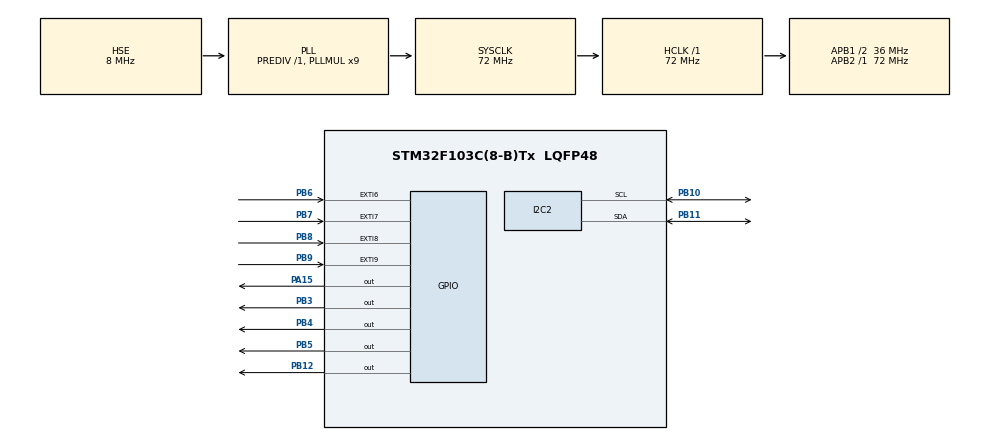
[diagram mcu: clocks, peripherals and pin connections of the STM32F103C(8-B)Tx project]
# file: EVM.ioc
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Mcu.Family=STM32F1
Mcu.Name=STM32F103C(8-B)Tx
Mcu.Package=LQFP48
NVIC.EXTI9_5_IRQn=true\:0\:0\:false\:false\:true\:true\:true\:true
NVIC.PriorityGroup=NVIC_PRIORITYGROUP_4
PA13.Mode=Serial_Wire
PA13.Signal=SYS_JTMS-SWDIO
PA14.Mode=Serial_Wire
PA14.Signal=SYS_JTCK-SWCLK
PA15.Signal=GPIO_Output
PB10.Mode=I2C
PB10.Signal=I2C2_SCL
PB11.Mode=I2C
PB11.Signal=I2C2_SDA
PB12.Signal=GPIO_Output
PB3.Signal=GPIO_Output
PB4.Signal=GPIO_Output
PB5.Signal=GPIO_Output
PB6.Signal=GPXTI6
PB7.Signal=GPXTI7
PB8.Signal=GPXTI8
PB9.Signal=GPXTI9
PD0-OSC_IN.Mode=HSE-External-Oscillator
PD0-OSC_IN.Signal=RCC_OSC_IN
PD1-OSC_OUT.Mode=HSE-External-Oscillator
PD1-OSC_OUT.Signal=RCC_OSC_OUT
ProjectManager.HeapSize=0x200
ProjectManager.StackSize=0x400
ProjectManager.TargetToolchain=STM32CubeIDE
RCC.AHBFreq_Value=72000000
RCC.APB1CLKDivider=RCC_HCLK_DIV2
RCC.APB1Freq_Value=36000000
RCC.APB1TimFreq_Value=72000000
RCC.APB2Freq_Value=72000000
RCC.APB2TimFreq_Value=72000000
RCC.HCLKFreq_Value=72000000
RCC.PLLMUL=RCC_PLL_MUL9
RCC.PLLSourceVirtual=RCC_PLLSOURCE_HSE
RCC.SYSCLKFreq_VALUE=72000000
RCC.SYSCLKSource=RCC_SYSCLKSOURCE_PLLCLK
RCC.USBFreq_Value=72000000
TIM1.Prescaler=71
VP_TIM1_VS_ClockSourceINT.Mode=Internal
board=custom

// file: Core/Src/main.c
/* USER CODE BEGIN Header */
/**
 ******************************************************************************
 * @file           : main.c
 * @brief          : Main program body
 ******************************************************************************
 * @attention
 *
 * Copyright (c) 2024 STMicroelectronics.
 * All rights reserved.
 *
 * This software is licensed under terms that can be found in the LICENSE file
 * in the root directory of this software component.
 * If no LICENSE file comes with this software, it is provided AS-IS.
 *
 ******************************************************************************
 */
/* USER CODE END Header */
#include "main.h"
#include <assert.h>
#include <math.h>
#include <stdlib.h>
#include <string.h>

/* USER CODE BEGIN Includes */
#include "liquidcrystal_i2c.h"
/* USER CODE END Includes */

I2C_HandleTypeDef hi2c2;

TIM_HandleTypeDef htim1;

/* USER CODE BEGIN PV */

GPIO_InitTypeDef GPIO_InitStructPrivate = { 0 };
uint32_t previousMillis = 0;
uint32_t currentMillis = 0;
uint8_t keyPressed = 0;

int32_t last_when_pressed = 0;

/* USER CODE END PV */

void SystemClock_Config(void);
static void MX_GPIO_Init(void);
static void MX_I2C2_Init(void);
static void MX_TIM1_Init(void);

/* USER CODE BEGIN 0 */

void clear_console() {
	HD44780_Clear();
}

void show_text(int x, int y, const char *text, int clear) {
	if (clear) {
		clear_console();
	}

	HD44780_SetCursor(x, y);
	HD44780_PrintStr(text);
}

void show_int(int x, int y, int64_t text, int clear) {
	if (clear) {
		HD44780_Clear();
	}
	char str[20];
	itoa(text, str, 0);
	HD44780_SetCursor(x, y);
	HD44780_PrintStr(str);
}

#define DHT11_PORT GPIOB
#define DHT11_PIN GPIO_PIN_12
uint8_t RHI, RHD, TCI, TCD, SUM;
uint32_t pMillis, cMillis;
float tCelsius = 0;
float tFahrenheit = 0;
float RH = 0;

#define HOME_STATE 0
#define MENU_STATE 1
#define VOTE_STATE 2
#define STAT_STATE 3
#define COUNT_STATE 4
#define SUCCESS_STATE 5
#define ADMIN_LOGIN_STATE 6
#define PUBLISH_STATE 7
#define PROLOGUE_STATE 8
#define TEMPERATURE_STATE 9
#define CONFIRMATION_STATE 10

int admin_authorized = 0;

int transition_stack[100] = { 0 };
int stack_ptr = 1;

int stack_size() {
	return stack_ptr;
}
int stack_top() {
	assert(stack_size() > 0);
	return transition_stack[stack_ptr - 1];
}

void stack_push(int value) {
	transition_stack[stack_ptr++] = value;
}

void stack_pop() {
	if (stack_size() <= 1) {
		return;
	}
	--stack_ptr;
}

void stack_reset() {
	stack_ptr = 1;
}

int current_state = PROLOGUE_STATE;
const char *headings[][2] = { { "Welcome voter", "1.Vote #.Exit" }, {
		"Main menu", "1.Stats #.Exit" },
		{ "Select candidate", "1.A 2.B 3.C 4.D" }, { "See stat",
				"1.Vote count #.Exit" }, { "", "" }, { "Vote Success!",
				"Thank you" }, { "Admin Logged In", "1.Menu #.Exit" }, {
				"Voting finished", "Winner: " }, { "Pending", "Admin Login" }, {
				"", "" }, { "", "1. Yes *. Back" } };
const char *headings_admin[][2] = { { "Welcome admin", "1.Menu #.Exit" }, {
		"1.Stats 2.Take", "3.End 4.Temp" }, { "Select candidate",
		"1.A 2.B 3.C 4.D" }, { "See stat", "1.Vote count #.Exit" }, { "", "" },
		{ "Vote Success!", "#.Exit" }, { "Admin Logged In", "1.Menu #.Exit" }, {
				"Voting finished", "Winner: " }, { "Temp: ", "Humidity: " } };

int counts[4];
int selected_candidate = 0;

void cast_vote(int option) {
	++counts[option - 1];
}
char get_winner() {
	int max_val = 0;
	char winner = '?';
	for (int i = 0; i < 4; ++i) {
		if (counts[i] > max_val) {
			max_val = counts[i];
			winner = (char) ('A' + i);
		}
	}
	return winner;
}

void reset_all() {
	admin_authorized = 1;
	current_state = HOME_STATE;
	counts[0] = counts[1] = counts[2] = counts[3] = 1;
	stack_reset();
}

void reverse(char *str, int len) {
	int i = 0, j = len - 1, temp;
	while (i < j) {
		temp = str[i];
		str[i] = str[j];
		str[j] = temp;
		i++;
		j--;
	}
}

int int_to_str(int x, char str[], int d) {
	int i = 0;
	while (x > 0) {
		str[i++] = (x % 10) + '0';
		x = x / 10;
	}
	while (i < d)
		str[i++] = '0';
	reverse(str, i);
	str[i] = '\0';
	return i;
}

void ftoa(float n, char *res, int afterpoint) {
	int ipart = (int) n;
	float fpart = n - (float) ipart;
	int i = int_to_str(ipart, res, 0);
	if (afterpoint != 0) {
		res[i] = '.';
		fpart = fpart * pow(10, afterpoint);
		int_to_str((int) fpart, res + i + 1, afterpoint);
	}
}

void show_heading() {
	if (current_state == CONFIRMATION_STATE) {
		char conf_text[50] = "Vote: ";
		char selected[2] = { (char) (selected_candidate + '0') };
		strcat(conf_text, selected);
		strcat(conf_text, "?");
		show_text(0, 0, conf_text, 0);
		show_text(0, 1, headings[current_state][1], 0);

	} else if (current_state == TEMPERATURE_STATE) {
		char temp_text[50] = "Temp: ";
		char temp[30];
		ftoa(tCelsius, temp, 1);
		strcat(temp_text, temp);
		strcat(temp_text, " C");
		show_text(0, 0, temp_text, 0);

		char hmd_text[50] = "Humidity: ";
		char hmd[30];
		itoa((int) RH, hmd, 10);
		strcat(hmd_text, hmd);
		strcat(hmd_text, " %");
		show_text(0, 1, hmd_text, 0);

	} else if (current_state == PUBLISH_STATE) {
		char winner[2] = { get_winner() };
		char text[20] = "Winner: ";
		strcat(text, winner);
		show_text(0, 1, text, 0);
	} else if (current_state == COUNT_STATE) {
		char a_label[20] = "A: ";
		char a_count[5];
		itoa(counts[0], a_count, 10);
		strcat(a_label, a_count);
		show_text(0, 0, a_label, 0);

		char b_label[20] = "B: ";
		char b_count[5];
		itoa(counts[1], b_count, 10);
		strcat(b_label, b_count);
		show_text(8, 0, b_label, 0);

		char c_label[20] = "C: ";
		char c_count[5];
		itoa(counts[2], c_count, 10);
		strcat(c_label, c_count);
		show_text(0, 1, c_label, 0);

		char d_label[20] = "D: ";
		char d_count[5];
		itoa(counts[3], d_count, 10);
		strcat(d_label, d_count);
		show_text(8, 1, d_label, 0);
	} else {
		if (admin_authorized) {
			show_text(0, 0, headings_admin[current_state][0], 0);
			show_text(0, 1, headings_admin[current_state][1], 0);
		} else {
			show_text(0, 0, headings[current_state][0], 0);
			show_text(0, 1, headings[current_state][1], 0);
		}
	}
}

void go_back() {
	stack_pop();
	current_state = stack_top();
}

char key_presses[1000];
int key_press_count = 0;

int scan_for_admin() {
	char pass[] = "699";
	if (key_press_count < strlen(pass)) {
		return 0;
	}
	if (key_presses[key_press_count - 1] == pass[2]
			&& key_presses[key_press_count - 2] == pass[1]
			&& key_presses[key_press_count - 3] == pass[0]) {
		return 1;
	}
	return 0;
}

void transition(char key_pressed) {
	char pressed[2] = { key_pressed };
	show_text(15, 0, pressed, 0);
	HAL_Delay(100);

	char old_state = current_state;

	if (scan_for_admin()) {
		current_state = HOME_STATE;
		admin_authorized = 1;
		clear_console();
		stack_reset();
		return;
	}

	if (key_pressed == '?') {
		exit(0);
		return;
	}
	if (key_pressed == '*') {
		if (current_state == SUCCESS_STATE || current_state == PROLOGUE_STATE)
			return;
		go_back();
		clear_console();
		return;
	}

	if (key_pressed == '#') {
		if (current_state != PROLOGUE_STATE && current_state != SUCCESS_STATE) {
			current_state = HOME_STATE;
		}
		clear_console();
		stack_reset();
		return;
	}
	if (current_state == HOME_STATE) {
		if (key_pressed == '1') {
			current_state = admin_authorized ? MENU_STATE : VOTE_STATE;
		} else if (key_pressed == '#') {
			current_state = HOME_STATE;
		}
	} else if (current_state == MENU_STATE) {
		if (key_pressed == '1') {
			current_state = STAT_STATE;
		} else if (key_pressed == '#') {
			current_state = HOME_STATE;
		} else if (key_pressed == '2') {
			current_state = HOME_STATE;
			admin_authorized = 0;
		} else if (key_pressed == '3') {
			current_state = PUBLISH_STATE;
		} else if (key_pressed == '4') {
			current_state = TEMPERATURE_STATE;
		}
	} else if (current_state == VOTE_STATE) {
		selected_candidate = key_pressed - '0';
		current_state = CONFIRMATION_STATE;

	} else if (current_state == STAT_STATE) {
		if (key_pressed == '1') {
			current_state = COUNT_STATE;
		} else if (key_pressed == '#') {
			current_state = HOME_STATE;
		}
	} else if (current_state == CONFIRMATION_STATE) {
		if (key_pressed == '1') {
			cast_vote(selected_candidate);
			current_state = SUCCESS_STATE;
		}

	}
	stack_push(current_state);
	if (current_state != old_state) {
		clear_console();
	}
}

void microDelay(uint16_t delay) {
	__HAL_TIM_SET_COUNTER(&htim1, 0);
	while (__HAL_TIM_GET_COUNTER(&htim1) < delay)
		;
}

uint8_t DHT11_Start(void) {
	uint8_t Response = 0;
	GPIO_InitTypeDef GPIO_InitStructPrivate = { 0 };
	GPIO_InitStructPrivate.Pin = DHT11_PIN;
	GPIO_InitStructPrivate.Mode = GPIO_MODE_OUTPUT_PP;
	GPIO_InitStructPrivate.Speed = GPIO_SPEED_FREQ_LOW;
	GPIO_InitStructPrivate.Pull = GPIO_NOPULL;
	HAL_GPIO_Init(DHT11_PORT, &GPIO_InitStructPrivate); // set the pin as output
	HAL_GPIO_WritePin(DHT11_PORT, DHT11_PIN, 0);       // pull the pin low
	HAL_Delay(20);                                     // wait for 20ms
	HAL_GPIO_WritePin(DHT11_PORT, DHT11_PIN, 1);       // pull the pin high
	microDelay(30);                                    // wait for 30us
	GPIO_InitStructPrivate.Mode = GPIO_MODE_INPUT;
	GPIO_InitStructPrivate.Pull = GPIO_PULLUP;
	HAL_GPIO_Init(DHT11_PORT, &GPIO_InitStructPrivate);  // set the pin as input
	microDelay(40);
	if (!(HAL_GPIO_ReadPin(DHT11_PORT, DHT11_PIN))) {
		microDelay(80);
		if ((HAL_GPIO_ReadPin(DHT11_PORT, DHT11_PIN)))
			Response = 1;
	}
	pMillis = HAL_GetTick();
	cMillis = HAL_GetTick();
	while ((HAL_GPIO_ReadPin(DHT11_PORT, DHT11_PIN)) && pMillis + 2 > cMillis) {
		cMillis = HAL_GetTick();
	}
	return Response;
}

uint8_t DHT11_Read(void) {
	uint8_t a, b;
	for (a = 0; a < 8; a++) {
		pMillis = HAL_GetTick();
		cMillis = HAL_GetTick();
		while (!(HAL_GPIO_ReadPin(DHT11_PORT, DHT11_PIN))
				&& pMillis + 2 > cMillis) {       // wait for the pin to go high
			cMillis = HAL_GetTick();
		}
		microDelay(40);                                // wait for 40 us
		if (!(HAL_GPIO_ReadPin(DHT11_PORT, DHT11_PIN)))     // if the pin is low
			b &= ~(1 << (7 - a));
		else
			b |= (1 << (7 - a));
		pMillis = HAL_GetTick();
		cMillis = HAL_GetTick();
		while ((HAL_GPIO_ReadPin(DHT11_PORT, DHT11_PIN))
				&& pMillis + 2 > cMillis) {        // wait for the pin to go low
			cMillis = HAL_GetTick();
		}
	}
	return b;
}

/* USER CODE END 0 */

int main(void) {

	/* MCU Configuration--------------------------------------------------------*/

	/* Reset of all peripherals, Initializes the Flash interface and the Systick. */
	HAL_Init();

	/* Configure the system clock */
	SystemClock_Config();

	/* Initialize all configured peripherals */
	MX_GPIO_Init();
	MX_I2C2_Init();
	MX_TIM1_Init();
	/* USER CODE BEGIN 2 */
	HD44780_Init(2);

	HAL_GPIO_WritePin(GPIOA, GPIO_PIN_15, 1);
	HAL_GPIO_WritePin(GPIOB, GPIO_PIN_3, 1);
	HAL_GPIO_WritePin(GPIOB, GPIO_PIN_4, 1);
	HAL_GPIO_WritePin(GPIOB, GPIO_PIN_5, 1);

	HAL_TIM_Base_Start(&htim1);

	/* USER CODE END 2 */

	/* Infinite loop */
	/* USER CODE BEGIN WHILE */
	while (1) {
		show_heading();
		char c = keyPressed;
		if (currentMillis > last_when_pressed + 500) {
			key_presses[key_press_count++] = c;
			transition(c);
			last_when_pressed = currentMillis;
		}

		//		if (current_state == TEMPERATURE_STATE) {
		//				HAL_Delay(1000);
		//		}
		if (DHT11_Start()) {
			RHI = DHT11_Read();        // Relative humidity integral
			RHD = DHT11_Read();        // Relative humidity decimal
			TCI = DHT11_Read();        // Celsius integral
			TCD = DHT11_Read();        // Celsius decimal
			SUM = DHT11_Read();        // Check sum
			if (RHI + RHD + TCI + TCD == SUM) {
				// Can use RHI and TCI for any purposes if whole number only needed
				tCelsius = (float) TCI + (float) (TCD / 10.0);
				tFahrenheit = tCelsius * 9 / 5 + 32;
				RH = (float) RHI + (float) (RHD / 10.0);
				// Can use tCelsius, tFahrenheit and RH for any purposes
			}
		}
	}
	/* USER CODE END WHILE */

}

void SystemClock_Config(void) {
	RCC_OscInitTypeDef RCC_OscInitStruct = { 0 };
	RCC_ClkInitTypeDef RCC_ClkInitStruct = { 0 };

	/** Initializes the RCC Oscillators according to the specified parameters
	 * in the RCC_OscInitTypeDef structure.
	 */
	RCC_OscInitStruct.OscillatorType = RCC_OSCILLATORTYPE_HSE;
	RCC_OscInitStruct.HSEState = RCC_HSE_ON;
	RCC_OscInitStruct.HSEPredivValue = RCC_HSE_PREDIV_DIV1;
	RCC_OscInitStruct.HSIState = RCC_HSI_ON;
	RCC_OscInitStruct.PLL.PLLState = RCC_PLL_ON;
	RCC_OscInitStruct.PLL.PLLSource = RCC_PLLSOURCE_HSE;
	RCC_OscInitStruct.PLL.PLLMUL = RCC_PLL_MUL9;
	if (HAL_RCC_OscConfig(&RCC_OscInitStruct) != HAL_OK) {
		Error_Handler();
	}

	/** Initializes the CPU, AHB and APB buses clocks
	 */
	RCC_ClkInitStruct.ClockType = RCC_CLOCKTYPE_HCLK | RCC_CLOCKTYPE_SYSCLK
			| RCC_CLOCKTYPE_PCLK1 | RCC_CLOCKTYPE_PCLK2;
	RCC_ClkInitStruct.SYSCLKSource = RCC_SYSCLKSOURCE_PLLCLK;
	RCC_ClkInitStruct.AHBCLKDivider = RCC_SYSCLK_DIV1;
	RCC_ClkInitStruct.APB1CLKDivider = RCC_HCLK_DIV2;
	RCC_ClkInitStruct.APB2CLKDivider = RCC_HCLK_DIV1;

	if (HAL_RCC_ClockConfig(&RCC_ClkInitStruct, FLASH_LATENCY_2) != HAL_OK) {
		Error_Handler();
	}
}

static void MX_I2C2_Init(void) {

	hi2c2.Instance = I2C2;
	hi2c2.Init.ClockSpeed = 100000;
	hi2c2.Init.DutyCycle = I2C_DUTYCYCLE_2;
	hi2c2.Init.OwnAddress1 = 0;
	hi2c2.Init.AddressingMode = I2C_ADDRESSINGMODE_7BIT;
	hi2c2.Init.DualAddressMode = I2C_DUALADDRESS_DISABLE;
	hi2c2.Init.OwnAddress2 = 0;
	hi2c2.Init.GeneralCallMode = I2C_GENERALCALL_DISABLE;
	hi2c2.Init.NoStretchMode = I2C_NOSTRETCH_DISABLE;
	if (HAL_I2C_Init(&hi2c2) != HAL_OK) {
		Error_Handler();
	}
}

static void MX_TIM1_Init(void) {

	TIM_ClockConfigTypeDef sClockSourceConfig = { 0 };
	TIM_MasterConfigTypeDef sMasterConfig = { 0 };

	htim1.Instance = TIM1;
	htim1.Init.Prescaler = 71;
	htim1.Init.CounterMode = TIM_COUNTERMODE_UP;
	htim1.Init.Period = 65535;
	htim1.Init.ClockDivision = TIM_CLOCKDIVISION_DIV1;
	htim1.Init.RepetitionCounter = 0;
	htim1.Init.AutoReloadPreload = TIM_AUTORELOAD_PRELOAD_DISABLE;
	if (HAL_TIM_Base_Init(&htim1) != HAL_OK) {
		Error_Handler();
	}
	sClockSourceConfig.ClockSource = TIM_CLOCKSOURCE_INTERNAL;
	if (HAL_TIM_ConfigClockSource(&htim1, &sClockSourceConfig) != HAL_OK) {
		Error_Handler();
	}
	sMasterConfig.MasterOutputTrigger = TIM_TRGO_RESET;
	sMasterConfig.MasterSlaveMode = TIM_MASTERSLAVEMODE_DISABLE;
	if (HAL_TIMEx_MasterConfigSynchronization(&htim1, &sMasterConfig)
			!= HAL_OK) {
		Error_Handler();
	}
}

static void MX_GPIO_Init(void) {
	GPIO_InitTypeDef GPIO_InitStruct = { 0 };

	/* GPIO Ports Clock Enable */
	__HAL_RCC_GPIOD_CLK_ENABLE();
	__HAL_RCC_GPIOB_CLK_ENABLE();
	__HAL_RCC_GPIOA_CLK_ENABLE();

	/*Configure GPIO pin Output Level */
	HAL_GPIO_WritePin(GPIOB, GPIO_PIN_12 | GPIO_PIN_3 | GPIO_PIN_4 | GPIO_PIN_5,
			GPIO_PIN_RESET);

	/*Configure GPIO pin Output Level */
	HAL_GPIO_WritePin(GPIOA, GPIO_PIN_15, GPIO_PIN_RESET);

	/*Configure GPIO pins : PB12 PB3 PB4 PB5 */
	GPIO_InitStruct.Pin = GPIO_PIN_12 | GPIO_PIN_3 | GPIO_PIN_4 | GPIO_PIN_5;
	GPIO_InitStruct.Mode = GPIO_MODE_OUTPUT_PP;
	GPIO_InitStruct.Pull = GPIO_NOPULL;
	GPIO_InitStruct.Speed = GPIO_SPEED_FREQ_LOW;
	HAL_GPIO_Init(GPIOB, &GPIO_InitStruct);

	/*Configure GPIO pin : PA15 */
	GPIO_InitStruct.Pin = GPIO_PIN_15;
	GPIO_InitStruct.Mode = GPIO_MODE_OUTPUT_PP;
	GPIO_InitStruct.Pull = GPIO_NOPULL;
	GPIO_InitStruct.Speed = GPIO_SPEED_FREQ_LOW;
	HAL_GPIO_Init(GPIOA, &GPIO_InitStruct);

	/*Configure GPIO pins : PB6 PB7 PB8 PB9 */
	GPIO_InitStruct.Pin = GPIO_PIN_6 | GPIO_PIN_7 | GPIO_PIN_8 | GPIO_PIN_9;
	GPIO_InitStruct.Mode = GPIO_MODE_IT_RISING;
	GPIO_InitStruct.Pull = GPIO_NOPULL;
	HAL_GPIO_Init(GPIOB, &GPIO_InitStruct);

	/* EXTI interrupt init*/
	HAL_NVIC_SetPriority(EXTI9_5_IRQn, 0, 0);
	HAL_NVIC_EnableIRQ(EXTI9_5_IRQn);

}

/* USER CODE BEGIN 4 */

void HAL_GPIO_EXTI_Callback(uint16_t GPIO_Pin) {
	currentMillis = HAL_GetTick();
	if (currentMillis - previousMillis > 10) {
		/*Configure GPIO pins : PB6 PB7 PB8 PB9 to GPIO_INPUT*/
		GPIO_InitStructPrivate.Pin = GPIO_PIN_6 | GPIO_PIN_7 | GPIO_PIN_8
				| GPIO_PIN_9;
		GPIO_InitStructPrivate.Mode = GPIO_MODE_INPUT;
		GPIO_InitStructPrivate.Pull = GPIO_NOPULL;
		GPIO_InitStructPrivate.Speed = GPIO_SPEED_FREQ_LOW;
		HAL_GPIO_Init(GPIOB, &GPIO_InitStructPrivate);

		HAL_GPIO_WritePin(GPIOA, GPIO_PIN_15, 1);
		HAL_GPIO_WritePin(GPIOB, GPIO_PIN_3, 0);
		HAL_GPIO_WritePin(GPIOB, GPIO_PIN_4, 0);
		HAL_GPIO_WritePin(GPIOB, GPIO_PIN_5, 0);
		if (GPIO_Pin == GPIO_PIN_6 && HAL_GPIO_ReadPin(GPIOB, GPIO_PIN_6)) {
			keyPressed = 68;        //ASCII value of D
		} else if (GPIO_Pin == GPIO_PIN_7
				&& HAL_GPIO_ReadPin(GPIOB, GPIO_PIN_7)) {
			keyPressed = 67;        //ASCII value of C
		} else if (GPIO_Pin == GPIO_PIN_8
				&& HAL_GPIO_ReadPin(GPIOB, GPIO_PIN_8)) {
			keyPressed = 66;        //ASCII value of B
		} else if (GPIO_Pin == GPIO_PIN_9
				&& HAL_GPIO_ReadPin(GPIOB, GPIO_PIN_9)) {
			keyPressed = 65;        //ASCII value of A
		}

		HAL_GPIO_WritePin(GPIOA, GPIO_PIN_15, 0);
		HAL_GPIO_WritePin(GPIOB, GPIO_PIN_3, 1);
		HAL_GPIO_WritePin(GPIOB, GPIO_PIN_4, 0);
		HAL_GPIO_WritePin(GPIOB, GPIO_PIN_5, 0);
		if (GPIO_Pin == GPIO_PIN_6 && HAL_GPIO_ReadPin(GPIOB, GPIO_PIN_6)) {
			keyPressed = 35;        //ASCII value of #
		} else if (GPIO_Pin == GPIO_PIN_7
				&& HAL_GPIO_ReadPin(GPIOB, GPIO_PIN_7)) {
			keyPressed = 57;        //ASCII value of 9
		} else if (GPIO_Pin == GPIO_PIN_8
				&& HAL_GPIO_ReadPin(GPIOB, GPIO_PIN_8)) {
			keyPressed = 54;        //ASCII value of 6
		} else if (GPIO_Pin == GPIO_PIN_9
				&& HAL_GPIO_ReadPin(GPIOB, GPIO_PIN_9)) {
			keyPressed = 51;        //ASCII value of 3
		}

		HAL_GPIO_WritePin(GPIOA, GPIO_PIN_15, 0);
		HAL_GPIO_WritePin(GPIOB, GPIO_PIN_3, 0);
		HAL_GPIO_WritePin(GPIOB, GPIO_PIN_4, 1);
		HAL_GPIO_WritePin(GPIOB, GPIO_PIN_5, 0);
		if (GPIO_Pin == GPIO_PIN_6 && HAL_GPIO_ReadPin(GPIOB, GPIO_PIN_6)) {
			keyPressed = 48;        //ASCII value of 0
		} else if (GPIO_Pin == GPIO_PIN_7
				&& HAL_GPIO_ReadPin(GPIOB, GPIO_PIN_7)) {
			keyPressed = 56;        //ASCII value of 8
		} else if (GPIO_Pin == GPIO_PIN_8
				&& HAL_GPIO_ReadPin(GPIOB, GPIO_PIN_8)) {
			keyPressed = 53;        //ASCII value of 5
		} else if (GPIO_Pin == GPIO_PIN_9
				&& HAL_GPIO_ReadPin(GPIOB, GPIO_PIN_9)) {
			keyPressed = 50;        //ASCII value of 2
		}

		HAL_GPIO_WritePin(GPIOA, GPIO_PIN_15, 0);
		HAL_GPIO_WritePin(GPIOB, GPIO_PIN_3, 0);
		HAL_GPIO_WritePin(GPIOB, GPIO_PIN_4, 0);
		HAL_GPIO_WritePin(GPIOB, GPIO_PIN_5, 1);
		if (GPIO_Pin == GPIO_PIN_6 && HAL_GPIO_ReadPin(GPIOB, GPIO_PIN_6)) {
			keyPressed = 42;        //ASCII value of *
		} else if (GPIO_Pin == GPIO_PIN_7
				&& HAL_GPIO_ReadPin(GPIOB, GPIO_PIN_7)) {
			keyPressed = 55;        //ASCII value of 7
		} else if (GPIO_Pin == GPIO_PIN_8
				&& HAL_GPIO_ReadPin(GPIOB, GPIO_PIN_8)) {
			keyPressed = 52;        //ASCII value of 4
		} else if (GPIO_Pin == GPIO_PIN_9
				&& HAL_GPIO_ReadPin(GPIOB, GPIO_PIN_9)) {
			keyPressed = 49;        //ASCII value of 1
		}

		HAL_GPIO_WritePin(GPIOA, GPIO_PIN_15, 1);
		HAL_GPIO_WritePin(GPIOB, GPIO_PIN_3, 1);
		HAL_GPIO_WritePin(GPIOB, GPIO_PIN_4, 1);
		HAL_GPIO_WritePin(GPIOB, GPIO_PIN_5, 1);
		/*Configure GPIO pins : PB6 PB7 PB8 PB9 back to EXTI*/
		GPIO_InitStructPrivate.Mode = GPIO_MODE_IT_RISING;
		GPIO_InitStructPrivate.Pull = GPIO_PULLDOWN;
		HAL_GPIO_Init(GPIOB, &GPIO_InitStructPrivate);
		previousMillis = currentMillis;
	}
}

/* USER CODE END 4 */

void Error_Handler(void) {
	__disable_irq();
	while (1) {
	}
}
